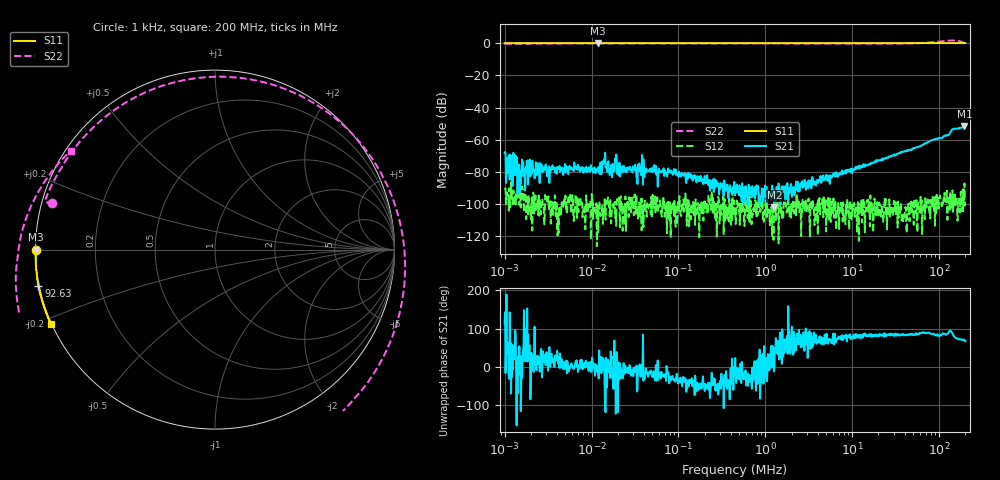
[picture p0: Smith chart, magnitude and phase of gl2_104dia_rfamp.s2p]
! ListType=Log
# MHZ S RI R 50
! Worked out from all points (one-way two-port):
!   1000 points, 1 kHz to 200 MHz, reference 50 ohm
!   highest |S21| = -51.48 dB at 195.2 MHz (marker M1); lowest = -101.9 dB at 1.271 MHz (marker M2)
!   lowest |S11| = 0.0 dB at 11.95 kHz (marker M3), VSWR 448.83, Z = 0.111 + j0.0116 ohm
!   |S11| at or under -10 dB: nowhere
!   |S22| runs from -0.5 to 1.7 dB; largest |S21 - S12| = 0.0027
!   S11 on the Smith chart (normalised r, x): 1 kHz: 0.00, -0.00; 92.63 MHz: -0.00, -0.10; 200 MHz: -0.00, -0.22
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0.001  -0.9984 -0.000162  -0.000156 0.000361  -1.15e-05 -2.99e-05  -0.9089 0.26
0.0015909  -0.9981 -0.000557  0.000214 -0.000114  1e-05 -3.45e-05  -0.92 0.2576
0.0076941  -0.9984 -1.09e-05  0.000122 4.25e-05  -2.1e-06 8.4e-06  -0.9422 0.2759
0.011945  -0.9956 0.000464  0.000137 -4.22e-05  -1.2e-06 6e-07  -0.9435 0.2782
0.0147026  -0.9983 -3.14e-05  0.000156 6.99e-05  9.8e-06 -8.2e-06  -0.9426 0.2815
0.0168176  -0.9983 2.72e-05  0.000157 5.62e-05  2.3e-06 -1.1e-06  -0.9426 0.2824
0.0197127  -0.9982 -6.44e-05  9.17e-05 3.3e-05  -7.2e-06 -1.49e-05  -0.9424 0.2834
0.0209545  -0.9983 4.9e-05  0.000164 -0.000107  -4.2e-06 -6.2e-06  -0.9423 0.2837
0.0584804  -0.9982 -0.000254  7.34e-05 -4.91e-05  1.1e-06 -7.5e-06  -0.9406 0.2882
0.4499541  -0.9986 -0.00125  2e-05 8.7e-06  1.8e-06 7.1e-06  -0.9349 0.303
1.271179  -0.9987 -0.00315  8e-06 -1e-07  5.8e-06 3.2e-06  -0.9227 0.3308
3.419952  -0.9991 -0.00811  3.03e-05 3.71e-05  -1.8e-06 -7.2e-06  -0.8867 0.4028
8.242828  -0.9994 -0.019  2.46e-05 0.000102  1.6e-06 2.8e-06  -0.7968 0.5472
26.31347  -0.9992 -0.0592  3.44e-05 0.000304  3.6e-06 -3.5e-06  -0.3118 0.9064
54.10682  -0.9955 -0.1195  1.83e-05 0.000578  1.4e-06 -7e-06  0.5871 0.7932
74.33901  -0.9903 -0.1627  1.67e-05 0.000857  8e-06 -1.29e-05  1.005 0.2431
92.62555  -0.9837 -0.2013  0.000141 0.00106  -3.4e-06 -4.1e-06  1.016 -0.4025
111.2566  -0.9752 -0.24  6.24e-05 0.00126  -1.7e-06 -1.2e-05  0.6367 -0.9624
136.941  -0.9613 -0.2921  -7.83e-05 0.00187  -9.3e-06 -1.37e-05  -0.2718 -1.174
166.5079  -0.9413 -0.3502  0.000668 0.00213  -7e-06 -1.02e-05  -1.054 -0.491
195.1719  -0.9185 -0.4045  0.000963 0.00249  -4.11e-05 1.64e-05  -0.908 0.4365
200  -0.9147 -0.4134  0.000999 0.00245  -1.29e-05 -6.6e-06  -0.8026 0.5506
